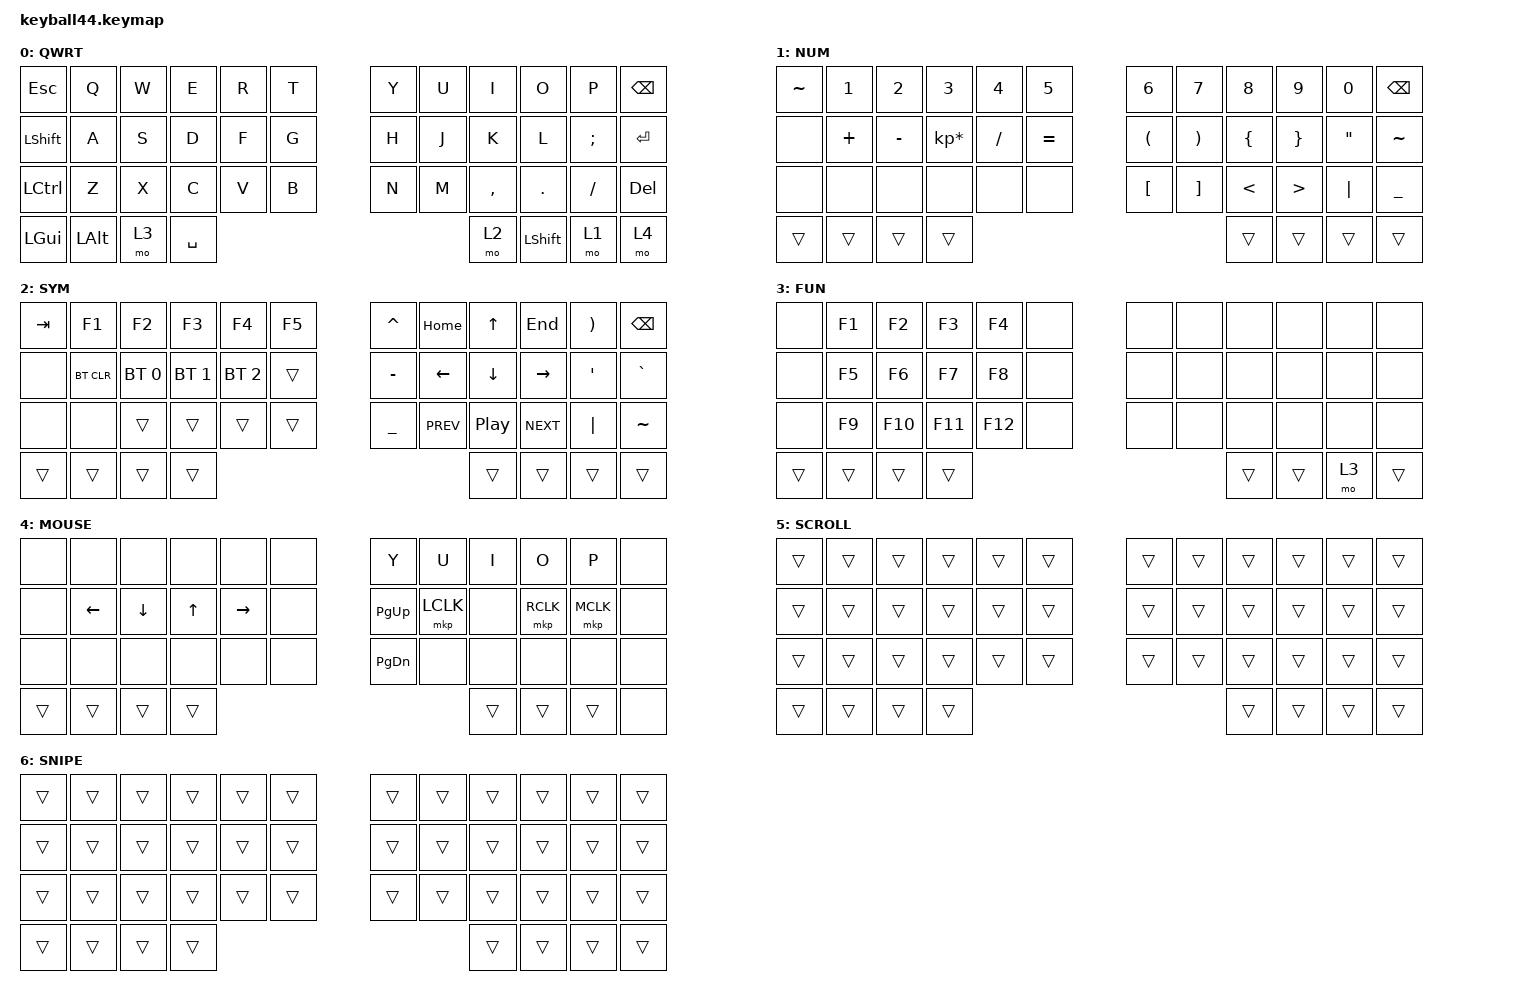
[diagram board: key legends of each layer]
#define DEFAULT 0
#define NUM     1
#define SYM     2
#define FUN     3
#define MOUSE   4
#define SCROLL  5
#define SNIPE   6

#include <behaviors/mouse_keys.dtsi>
#include <dt-bindings/zmk/mouse.h>
#include <behaviors.dtsi>
#include <dt-bindings/zmk/bt.h>
#include <dt-bindings/zmk/keys.h>
#include <dt-bindings/zmk/pointing.h>

&nice_view_spi { cs-gpios = <&pro_micro 1 GPIO_ACTIVE_HIGH>; };

&lt {
    tapping-term-ms = <240>;
    flavor = "balanced";
    quick-tap-ms = <150>;
};

&mt {
    tapping-term-ms = <200>;
    flavor = "tap-preferred";
    quick-tap-ms = <150>;
};

&caps_word { continue-list = <UNDERSCORE MINUS>; };

/ {
    // custom shift using mod-morph 

    behaviors {
        cmqus: comma_question {
            compatible = "zmk,behavior-mod-morph";
            label = "COMMA_QUESTION";
            #binding-cells = <0>;
            bindings = <&kp COMMA>, <&kp QUESTION>;

            mods = <(MOD_LSFT|MOD_RSFT)>;
        };

        dtsmi: dot_semi {
            compatible = "zmk,behavior-mod-morph";
            label = "DOT_SEMI";
            #binding-cells = <0>;
            bindings = <&kp DOT>, <&kp SEMI>;

            mods = <(MOD_LSFT|MOD_RSFT)>;
        };
    };

    keymap {
        compatible = "zmk,keymap";

        default_layer {
            label = "QWRT";
            bindings = <
&kp ESCAPE        &kp Q     &kp W  &kp E      &kp R  &kp T                      &kp Y  &kp U  &kp I      &kp O    &kp P      &kp BACKSPACE
&kp LEFT_SHIFT    &kp A     &kp S  &kp D      &kp F  &kp G                      &kp H  &kp J  &kp K      &kp L    &kp SEMI   &kp ENTER
&kp LEFT_CONTROL  &kp Z     &kp X  &kp C      &kp V  &kp B                      &kp N  &kp M  &kp COMMA  &kp DOT  &kp SLASH  &kp DELETE
&kp LGUI          &kp LALT  &mo 3  &kp SPACE  &mo 2             &kp LEFT_SHIFT  &mo 1                                        &mo 4
            >;
        };

        number_layer {
            label = "NUM";
            bindings = <
&kp TILDE  &kp NUMBER_1  &kp NUMBER_2  &kp NUMBER_3     &kp NUMBER_4  &kp NUMBER_5              &kp NUMBER_6          &kp NUMBER_7           &kp NUMBER_8    &kp NUMBER_9     &kp NUMBER_0  &kp BACKSPACE
&none      &kp PLUS      &kp MINUS     &kp KP_MULTIPLY  &kp SLASH     &kp EQUAL                 &kp LEFT_PARENTHESIS  &kp RIGHT_PARENTHESIS  &kp LEFT_BRACE  &kp RIGHT_BRACE  &kp DQT       &kp TILDE
&none      &none         &none         &none            &none         &none                     &kp LEFT_BRACKET      &kp RIGHT_BRACKET      &kp LT          &kp GT           &kp PIPE      &kp UNDERSCORE
&trans     &trans        &trans        &trans           &trans                          &trans  &trans                                                                                      &trans
            >;
        };

        symbol_layer {
            label = "SYM";
            bindings = <
&kp TAB  &kp F1      &kp F2        &kp F3        &kp F4        &kp F5              &kp CARET  &kp HOME    &kp UP    &kp END     &kp RPAR          &kp BACKSPACE
&none    &bt BT_CLR  &bt BT_SEL 0  &bt BT_SEL 1  &bt BT_SEL 2  &trans              &kp MINUS  &kp LEFT    &kp DOWN  &kp RIGHT   &kp SINGLE_QUOTE  &kp GRAVE
&none    &none       &trans        &trans        &trans        &trans              &kp UNDER  &kp C_PREV  &kp C_PP  &kp C_NEXT  &kp PIPE          &kp TILDE
&trans   &trans      &trans        &trans        &trans                    &trans  &trans                                                         &trans
            >;
        };

        function_layer {
            label = "FUN";
            bindings = <
&none   &kp F1  &kp F2   &kp F3   &kp F4   &none              &none  &none  &none  &none  &none  &none
&none   &kp F5  &kp F6   &kp F7   &kp F8   &none              &none  &none  &none  &none  &none  &none
&none   &kp F9  &kp F10  &kp F11  &kp F12  &none              &none  &none  &none  &none  &none  &none
&trans  &trans  &trans   &trans   &trans              &trans  &mo 3                              &trans
            >;
        };

        mouse_layer {
            label = "MOUSE";
            bindings = <
&none   &none           &none           &none         &none      &none              &kp Y          &kp U      &kp I  &kp O      &kp P      &none
&none   &kp LEFT_ARROW  &kp DOWN_ARROW  &kp UP_ARROW  &kp RIGHT  &none              &kp PAGE_UP    &mkp LCLK  &none  &mkp RCLK  &mkp MCLK  &none
&none   &none           &none           &none         &none      &none              &kp PAGE_DOWN  &none      &none  &none      &none      &none
&trans  &trans          &trans          &trans        &trans                &trans  &trans                                                 &none
            >;
        };

        scroll_layer {
            label = "SCROLL";
            bindings = <
&trans  &trans  &trans  &trans  &trans  &trans              &trans  &trans  &trans  &trans  &trans  &trans
&trans  &trans  &trans  &trans  &trans  &trans              &trans  &trans  &trans  &trans  &trans  &trans
&trans  &trans  &trans  &trans  &trans  &trans              &trans  &trans  &trans  &trans  &trans  &trans
&trans  &trans  &trans  &trans  &trans              &trans  &trans                                  &trans
            >;
        };

        snipe_layer {
            label = "SNIPE";
            bindings = <
&trans  &trans  &trans  &trans  &trans  &trans              &trans  &trans  &trans  &trans  &trans  &trans
&trans  &trans  &trans  &trans  &trans  &trans              &trans  &trans  &trans  &trans  &trans  &trans
&trans  &trans  &trans  &trans  &trans  &trans              &trans  &trans  &trans  &trans  &trans  &trans
&trans  &trans  &trans  &trans  &trans              &trans  &trans                                  &trans
            >;
        };
    };
};
